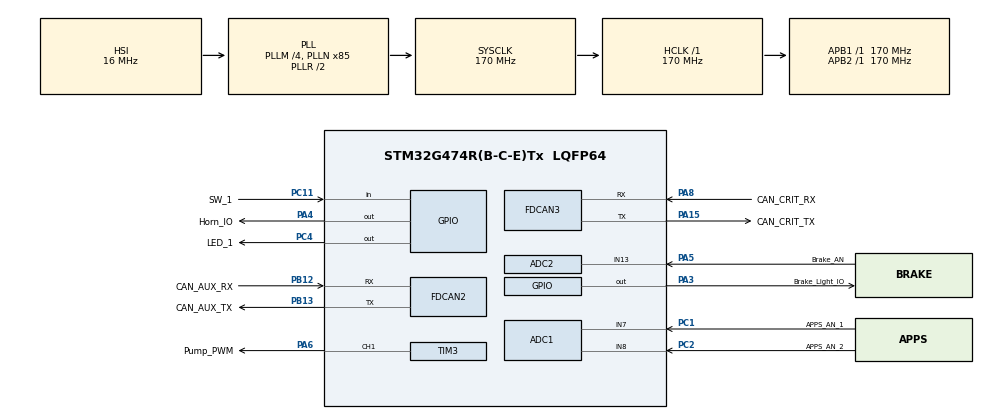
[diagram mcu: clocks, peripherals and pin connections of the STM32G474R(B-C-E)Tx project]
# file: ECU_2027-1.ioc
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ADC1.Channel-0\#ChannelRegularConversion=ADC_CHANNEL_7
ADC1.Channel-1\#ChannelRegularConversion=ADC_CHANNEL_8
ADC1.ContinuousConvMode=ENABLE
ADC1.DMAContinuousRequests=ENABLE
ADC1.NbrOfConversion=2
ADC1.NbrOfConversionFlag=1
ADC1.OffsetNumber-0\#ChannelRegularConversion=ADC_OFFSET_NONE
ADC1.OffsetNumber-1\#ChannelRegularConversion=ADC_OFFSET_NONE
ADC1.Overrun=ADC_OVR_DATA_OVERWRITTEN
ADC1.Rank-0\#ChannelRegularConversion=1
ADC1.Rank-1\#ChannelRegularConversion=2
ADC1.SamplingTime-0\#ChannelRegularConversion=ADC_SAMPLETIME_47CYCLES_5
ADC1.SamplingTime-1\#ChannelRegularConversion=ADC_SAMPLETIME_47CYCLES_5
ADC1.master=1
ADC2.Channel-0\#ChannelRegularConversion=ADC_CHANNEL_13
ADC2.ContinuousConvMode=ENABLE
ADC2.NbrOfConversionFlag=1
ADC2.OffsetNumber-0\#ChannelRegularConversion=ADC_OFFSET_NONE
ADC2.Overrun=ADC_OVR_DATA_OVERWRITTEN
ADC2.Rank-0\#ChannelRegularConversion=1
ADC2.SamplingTime-0\#ChannelRegularConversion=ADC_SAMPLETIME_2CYCLES_5
Dma.ADC1.0.Direction=DMA_PERIPH_TO_MEMORY
Dma.ADC1.0.EventEnable=DISABLE
Dma.ADC1.0.Instance=DMA1_Channel1
Dma.ADC1.0.MemDataAlignment=DMA_MDATAALIGN_HALFWORD
Dma.ADC1.0.MemInc=DMA_MINC_ENABLE
Dma.ADC1.0.Mode=DMA_CIRCULAR
Dma.ADC1.0.PeriphDataAlignment=DMA_PDATAALIGN_HALFWORD
Dma.ADC1.0.PeriphInc=DMA_PINC_DISABLE
Dma.ADC1.0.Polarity=HAL_DMAMUX_REQ_GEN_RISING
Dma.ADC1.0.Priority=DMA_PRIORITY_MEDIUM
Dma.ADC1.0.RequestNumber=1
Dma.ADC1.0.SignalID=NONE
Dma.ADC1.0.SyncEnable=DISABLE
Dma.ADC1.0.SyncPolarity=HAL_DMAMUX_SYNC_NO_EVENT
Dma.ADC1.0.SyncRequestNumber=1
Dma.ADC1.0.SyncSignalID=NONE
Dma.Request0=ADC1
FDCAN2.AutoRetransmission=ENABLE
FDCAN2.CalculateBaudRateNominal=250000
FDCAN2.CalculateTimeBitNominal=4000
FDCAN2.CalculateTimeQuantumNominal=200.0
FDCAN2.DataSyncJumpWidth=3
FDCAN2.NominalPrescaler=34
FDCAN2.NominalTimeSeg1=16
FDCAN2.NominalTimeSeg2=3
FDCAN3.AutoRetransmission=ENABLE
FDCAN3.CalculateBaudRateNominal=250000
FDCAN3.CalculateTimeBitNominal=4000
FDCAN3.CalculateTimeQuantumNominal=200.0
FDCAN3.NominalPrescaler=34
FDCAN3.NominalTimeSeg1=16
FDCAN3.NominalTimeSeg2=3
Mcu.Family=STM32G4
Mcu.Name=STM32G474R(B-C-E)Tx
Mcu.Package=LQFP64
NVIC.DMA1_Channel1_IRQn=true\:0\:0\:false\:false\:true\:false\:true\:true
NVIC.FDCAN2_IT0_IRQn=true\:0\:0\:false\:false\:true\:true\:true\:true
NVIC.FDCAN3_IT0_IRQn=true\:0\:0\:false\:false\:true\:true\:true\:true
NVIC.PriorityGroup=NVIC_PRIORITYGROUP_4
NVIC.TIM6_DAC_IRQn=true\:15\:0\:true\:false\:true\:false\:true\:true
NVIC.TimeBase=TIM6_DAC_IRQn
NVIC.TimeBaseIP=TIM6
PA13.Mode=Trace_Asynchronous_SW
PA13.Signal=SYS_JTMS-SWDIO
PA14.Mode=Trace_Asynchronous_SW
PA14.Signal=SYS_JTCK-SWCLK
PA15.GPIO_Label=CAN_CRIT_TX
PA15.Mode=FDCAN_Activate
PA15.Signal=FDCAN3_TX
PA3.GPIO_Label=Brake_Light_IO
PA3.Signal=GPIO_Output
PA4.GPIO_Label=Horn_IO
PA4.Signal=GPIO_Output
PA5.GPIO_Label=Brake_AN
PA5.Mode=IN13-Single-Ended
PA5.Signal=ADC2_IN13
PA6.GPIO_Label=Pump_PWM
PA6.Signal=S_TIM3_CH1
PA8.GPIO_Label=CAN_CRIT_RX
PA8.Mode=FDCAN_Activate
PA8.Signal=FDCAN3_RX
PB12.GPIO_Label=CAN_AUX_RX
PB12.Mode=FDCAN_Activate
PB12.Signal=FDCAN2_RX
PB13.GPIO_Label=CAN_AUX_TX
PB13.Mode=FDCAN_Activate
PB13.Signal=FDCAN2_TX
PB3.Mode=Trace_Asynchronous_SW
PB3.Signal=SYS_JTDO-SWO
PC1.GPIO_Label=APPS_AN_1
PC1.Mode=IN7-Single-Ended
PC1.Signal=ADC1_IN7
PC11.GPIO_Label=SW_1
PC11.Signal=GPIO_Input
PC2.GPIO_Label=APPS_AN_2
PC2.Mode=IN8-Single-Ended
PC2.Signal=ADC1_IN8
PC4.GPIO_Label=LED_1
PC4.Signal=GPIO_Output
ProjectManager.HeapSize=0x400
ProjectManager.StackSize=0x800
ProjectManager.TargetToolchain=CMake
RCC.ADC12Freq_Value=170000000
RCC.ADC345Freq_Value=170000000
RCC.AHBFreq_Value=170000000
RCC.APB1Freq_Value=170000000
RCC.APB1TimFreq_Value=170000000
RCC.APB2Freq_Value=170000000
RCC.APB2TimFreq_Value=170000000
RCC.CK48CLockSelection=RCC_USBCLKSOURCE_HSI48
RCC.CortexFreq_Value=170000000
RCC.EXTERNAL_CLOCK_VALUE=12288000
RCC.HCLKFreq_Value=170000000
RCC.HSE_VALUE=8000000
RCC.HSI48_VALUE=48000000
RCC.HSI_VALUE=16000000
RCC.LSE_VALUE=32768
RCC.PLLM=RCC_PLLM_DIV4
RCC.PLLN=85
RCC.PLLQ=RCC_PLLQ_DIV4
RCC.SYSCLKFreq_VALUE=170000000
RCC.SYSCLKSource=RCC_SYSCLKSOURCE_PLLCLK
RCC.USBFreq_Value=48000000
RCC.VCOOutputFreq_Value=340000000
SH.S_TIM3_CH1.0=TIM3_CH1,PWM Generation1 CH1
TIM3.Channel-PWM\ Generation1\ CH1=TIM_CHANNEL_1
TIM3.ClockDivision=TIM_CLOCKDIVISION_DIV1
VP_SYS_VS_DBSignals.Mode=DisableDeadBatterySignals
VP_SYS_VS_tim6.Mode=TIM6
VP_TIM3_VS_ClockSourceINT.Mode=Internal
board=NUCLEO-G474RE

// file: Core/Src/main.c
/* USER CODE BEGIN Header */
/**
  ******************************************************************************
  * @file           : main.c
  * @brief          : Main program body
  ******************************************************************************
  * @attention
  *
  * Copyright (c) 2026 STMicroelectronics.
  * All rights reserved.
  *
  * This software is licensed under terms that can be found in the LICENSE file
  * in the root directory of this software component.
  * If no LICENSE file comes with this software, it is provided AS-IS.
  *
  ******************************************************************************
  */
/* USER CODE END Header */
#include "main.h"

/* USER CODE BEGIN Includes */
#include <stdio.h>

#include "../Lib/shared/ecu_assert.h"
#include "../Lib/shared/util.h"

#include "../Lib/ecu/constants.h"
#include "../Lib/ecu/ecu_logic.h"

#include "../Lib/can/can_buses.h"
#include "../Lib/can/can_serde.h"
/* USER CODE END Includes */

ADC_HandleTypeDef hadc1;
ADC_HandleTypeDef hadc2;
DMA_HandleTypeDef hdma_adc1;

FDCAN_HandleTypeDef hfdcan2;
FDCAN_HandleTypeDef hfdcan3;

TIM_HandleTypeDef htim3;

/* USER CODE BEGIN PV */
uint32_t start_time;
/* USER CODE END PV */

void SystemClock_Config(void);
static void MX_GPIO_Init(void);
static void MX_DMA_Init(void);
static void MX_ADC1_Init(void);
static void MX_FDCAN2_Init(void);
static void MX_FDCAN3_Init(void);
static void MX_TIM3_Init(void);
static void MX_ADC2_Init(void);

/* USER CODE BEGIN 0 */

/* Called when an assert is violated */
static void ecu_assert_handler(AssertLevel level, LineInfo line_info, AssertCode code) {
    if (level == ASSERT_LEVEL_SAFETY) {
      // Turns horn off
      HAL_GPIO_WritePin(Horn_IO_GPIO_Port, Horn_IO_Pin, GPIO_PIN_RESET);

      /* Creates a shutdown message (all zeros) to send on the MotorCAN, effectively turning off the motor */
      CAN_message_t shutdown_message = empty_can_message(MESSAGE_ID_CONTROL_COMMAND, 8);

      /* Creates a can message with fault data to send along the DataCAN line
      * with error code, line of code where the error took place and file name */
      CriticalFault fault = { .error_code = code, .assert_failure_line = (uint16_t)line_info.line_no, .file_name_hash = str_hash(line_info.filename) };
      CAN_message_t fault_message = create_critical_fault_command(fault);

      /* Repeatedly sends both error message and 0 torque command to DataCAN and MotorCAN respectively.
      * Also will blink the LED on board rapidly */
      while (true) {
        can_bus_write(&MotorCAN, &shutdown_message);
        can_bus_service(&MotorCAN);
        can_bus_write(&DataCAN, &fault_message);
        can_bus_service(&DataCAN);
        HAL_GPIO_TogglePin(LED_1_GPIO_Port, LED_1_Pin);
        HAL_Delay(ASSERT_HANDLER_DELAY_MS);
      }
    }
}

// Low level print function called after PRINTF(), uses debug wire SWO instead
int _write(int file, char *ptr, int len) {
    for (int i = 0; i < len; i++) {
        ITM_SendChar(*ptr++);
    }
    return len;
}

/* USER CODE END 0 */

int main(void)
{

  /* USER CODE BEGIN 1 */

  /* For testing, should turn on the led onboard */
  HAL_GPIO_WritePin(LED_1_GPIO_Port, LED_1_Pin, GPIO_PIN_SET);

  /* Initializes timer to print debug messages to the terminal */
  Timer debug_pacing = { .last_fired_at = 0, .duration_ms = 500 };

  /* All these timers control how often messages are emitted for each of these sensors
  * or how often each sensor value should be checked */
  Timer throttle1_timer = { .last_fired_at = 0, .duration_ms = POLLING_APPS_INTERVAL_MS };
  Timer throttle2_timer = { .last_fired_at = 0, .duration_ms = POLLING_APPS_INTERVAL_MS };
  Timer brake_timer = { .last_fired_at = 0, .duration_ms = POLLING_SENSORS_INTERVAL_MS };
  Timer start_switch_timer = { .last_fired_at = 0, .duration_ms = POLLING_SENSORS_INTERVAL_MS };
  Timer pump_pwm_timer = { .last_fired_at = 0, .duration_ms = PUMP_PWM_UPDATE_INTERVAL_MS };

  /* USER CODE END 1 */

  /* MCU Configuration--------------------------------------------------------*/

  /* Reset of all peripherals, Initializes the Flash interface and the Systick. */
  HAL_Init();

  /* USER CODE BEGIN Init */
  // First things first, register the panic handler. If something goes
  // wrong during setup, we'll wind everything down.
  ecu_register_assert_failed_handler(ecu_assert_handler);
  /* USER CODE END Init */

  /* Configure the system clock */
  SystemClock_Config();

  /* Initialize all configured peripherals */
  MX_GPIO_Init();
  MX_DMA_Init();
  MX_ADC1_Init();
  MX_FDCAN2_Init();
  MX_FDCAN3_Init();
  MX_TIM3_Init();
  MX_ADC2_Init();
  /* USER CODE BEGIN 2 */
  /* Starts the CAN buses */
  can_buses_init();

  /* Start the ADC calibration */
  if (!adc_inputs_start()) {
    Error_Handler();
  }

  /* Terminal printing init */
  PRINTF("=== ECU 2027 ===\r\nMotor CAN initialized\r\n");

  /* USER CODE END 2 */

  /* Infinite loop */
  while (1)
  {

    /* USER CODE BEGIN 3 */
    /* The ECU does not keep track of what time it is, nor does it use `millis`,
      * so we always have to tell it what time it is. */
    uint32_t current_time_ms = HAL_GetTick();

    /* Reads and processes MotorCAN messages then logs timing */
    start_time = HAL_GetTick();
    CAN_message_t rmsg;
    while (can_bus_read(&MotorCAN, &rmsg)) {
      ecu_process_message(current_time_ms, rmsg);
    }
    poll_timing.can_bus_read_timing = HAL_GetTick() - start_time;

    /* Check if any sensors need to send values down the CAN bus, and
    * if so, send them, then logs timing.*/
    if (timer_should_fire(&throttle1_timer, current_time_ms)) {
      start_time = HAL_GetTick();
      pedals_input_throttle_one_position(current_time_ms, read_throttle_1());
      poll_timing.throttle_1_timing = HAL_GetTick() - start_time;
    }

    if (timer_should_fire(&throttle2_timer, current_time_ms)) {
        start_time = HAL_GetTick();
        pedals_input_throttle_two_position(current_time_ms, read_throttle_2());
        poll_timing.throttle_2_timing = HAL_GetTick() - start_time;
    }

    if (timer_should_fire(&brake_timer, current_time_ms)) {
        start_time = HAL_GetTick();
        pedals_input_brake_position(current_time_ms, read_brake());
        poll_timing.brake_timing = HAL_GetTick() - start_time;
    }

    if (timer_should_fire(&pump_pwm_timer, current_time_ms)) {
      start_time = HAL_GetTick();
      // TO DO: figure out pwm implementation
      poll_timing.pump_timing = HAL_GetTick() - start_time;
    }

    /* Reads switch value and updates ECU variables */
    if (timer_should_fire(&start_switch_timer, current_time_ms)) {
      start_time = HAL_GetTick();
      if (HAL_GPIO_ReadPin(SW_1_GPIO_Port, SW_1_Pin) == GPIO_PIN_SET) {
        ecu_set_start_switch();
        } else {
        ecu_reset_start_switch();
        }
      poll_timing.start_switch_timing = HAL_GetTick() - start_time;
    }

    /* Updates pedal data startup data before generating and sending torque command message */
    start_time = HAL_GetTick();
    ecu_handle_startup_sequence(current_time_ms);
    pedals_poll(current_time_ms);
    /* Generate all outgoing messages and send each then logs timing */
    CAN_message_t to_send;
    while (ecu_poll_can(current_time_ms, &to_send)){
      if (!can_bus_write(&MotorCAN, &to_send)) {
        ecu_assert_failed(ASSERT_LEVEL_SAFETY, CAPTURE_LINE_INFO(), ASSERT_CODE_CAN_TX_FULL);
      }
    }
    /* Sends any available messages */
    can_bus_service(&MotorCAN);
    poll_timing.can_bus_write_timing = HAL_GetTick() - start_time;

    /* Updates GpioState variables and logs timing */
    start_time = HAL_GetTick();
    GpioState state = ecu_poll_gpio_state(current_time_ms);
    HAL_GPIO_WritePin(Horn_IO_GPIO_Port, Horn_IO_Pin, state.horn_on ? GPIO_PIN_SET : GPIO_PIN_RESET);
    HAL_GPIO_WritePin(Brake_Light_IO_GPIO_Port, Brake_Light_IO_Pin, state.brake_light_on ? GPIO_PIN_SET : GPIO_PIN_RESET);
    poll_timing.gpio_state_timing = current_time_ms - HAL_GetTick();

    if (timer_should_fire(&debug_pacing, current_time_ms)) {
      start_time = HAL_GetTick();
      ecu_print_state();
      poll_timing.debug_timing = HAL_GetTick() - start_time;
    }

  }
  /* USER CODE END 3 */
}

void SystemClock_Config(void)
{
  RCC_OscInitTypeDef RCC_OscInitStruct = {0};
  RCC_ClkInitTypeDef RCC_ClkInitStruct = {0};

  /** Configure the main internal regulator output voltage
  */
  HAL_PWREx_ControlVoltageScaling(PWR_REGULATOR_VOLTAGE_SCALE1_BOOST);

  /** Initializes the RCC Oscillators according to the specified parameters
  * in the RCC_OscInitTypeDef structure.
  */
  RCC_OscInitStruct.OscillatorType = RCC_OSCILLATORTYPE_HSI;
  RCC_OscInitStruct.HSIState = RCC_HSI_ON;
  RCC_OscInitStruct.HSICalibrationValue = RCC_HSICALIBRATION_DEFAULT;
  RCC_OscInitStruct.PLL.PLLState = RCC_PLL_ON;
  RCC_OscInitStruct.PLL.PLLSource = RCC_PLLSOURCE_HSI;
  RCC_OscInitStruct.PLL.PLLM = RCC_PLLM_DIV4;
  RCC_OscInitStruct.PLL.PLLN = 85;
  RCC_OscInitStruct.PLL.PLLP = RCC_PLLP_DIV2;
  RCC_OscInitStruct.PLL.PLLQ = RCC_PLLQ_DIV4;
  RCC_OscInitStruct.PLL.PLLR = RCC_PLLR_DIV2;
  if (HAL_RCC_OscConfig(&RCC_OscInitStruct) != HAL_OK)
  {
    Error_Handler();
  }

  /** Initializes the CPU, AHB and APB buses clocks
  */
  RCC_ClkInitStruct.ClockType = RCC_CLOCKTYPE_HCLK|RCC_CLOCKTYPE_SYSCLK
                              |RCC_CLOCKTYPE_PCLK1|RCC_CLOCKTYPE_PCLK2;
  RCC_ClkInitStruct.SYSCLKSource = RCC_SYSCLKSOURCE_PLLCLK;
  RCC_ClkInitStruct.AHBCLKDivider = RCC_SYSCLK_DIV1;
  RCC_ClkInitStruct.APB1CLKDivider = RCC_HCLK_DIV1;
  RCC_ClkInitStruct.APB2CLKDivider = RCC_HCLK_DIV1;

  if (HAL_RCC_ClockConfig(&RCC_ClkInitStruct, FLASH_LATENCY_4) != HAL_OK)
  {
    Error_Handler();
  }
}

static void MX_ADC1_Init(void)
{

  ADC_MultiModeTypeDef multimode = {0};
  ADC_ChannelConfTypeDef sConfig = {0};

  /** Common config
  */
  hadc1.Instance = ADC1;
  hadc1.Init.ClockPrescaler = ADC_CLOCK_SYNC_PCLK_DIV4;
  hadc1.Init.Resolution = ADC_RESOLUTION_12B;
  hadc1.Init.DataAlign = ADC_DATAALIGN_RIGHT;
  hadc1.Init.GainCompensation = 0;
  hadc1.Init.ScanConvMode = ADC_SCAN_ENABLE;
  hadc1.Init.EOCSelection = ADC_EOC_SINGLE_CONV;
  hadc1.Init.LowPowerAutoWait = DISABLE;
  hadc1.Init.ContinuousConvMode = ENABLE;
  hadc1.Init.NbrOfConversion = 2;
  hadc1.Init.DiscontinuousConvMode = DISABLE;
  hadc1.Init.ExternalTrigConv = ADC_SOFTWARE_START;
  hadc1.Init.ExternalTrigConvEdge = ADC_EXTERNALTRIGCONVEDGE_NONE;
  hadc1.Init.DMAContinuousRequests = ENABLE;
  hadc1.Init.Overrun = ADC_OVR_DATA_OVERWRITTEN;
  hadc1.Init.OversamplingMode = DISABLE;
  if (HAL_ADC_Init(&hadc1) != HAL_OK)
  {
    Error_Handler();
  }

  /** Configure the ADC multi-mode
  */
  multimode.Mode = ADC_MODE_INDEPENDENT;
  if (HAL_ADCEx_MultiModeConfigChannel(&hadc1, &multimode) != HAL_OK)
  {
    Error_Handler();
  }

  /** Configure Regular Channel
  */
  sConfig.Channel = ADC_CHANNEL_7;
  sConfig.Rank = ADC_REGULAR_RANK_1;
  sConfig.SamplingTime = ADC_SAMPLETIME_47CYCLES_5;
  sConfig.SingleDiff = ADC_SINGLE_ENDED;
  sConfig.OffsetNumber = ADC_OFFSET_NONE;
  sConfig.Offset = 0;
  if (HAL_ADC_ConfigChannel(&hadc1, &sConfig) != HAL_OK)
  {
    Error_Handler();
  }

  /** Configure Regular Channel
  */
  sConfig.Channel = ADC_CHANNEL_8;
  sConfig.Rank = ADC_REGULAR_RANK_2;
  if (HAL_ADC_ConfigChannel(&hadc1, &sConfig) != HAL_OK)
  {
    Error_Handler();
  }

}

static void MX_ADC2_Init(void)
{

  ADC_ChannelConfTypeDef sConfig = {0};

  /** Common config
  */
  hadc2.Instance = ADC2;
  hadc2.Init.ClockPrescaler = ADC_CLOCK_SYNC_PCLK_DIV4;
  hadc2.Init.Resolution = ADC_RESOLUTION_12B;
  hadc2.Init.DataAlign = ADC_DATAALIGN_RIGHT;
  hadc2.Init.GainCompensation = 0;
  hadc2.Init.ScanConvMode = ADC_SCAN_DISABLE;
  hadc2.Init.EOCSelection = ADC_EOC_SINGLE_CONV;
  hadc2.Init.LowPowerAutoWait = DISABLE;
  hadc2.Init.ContinuousConvMode = ENABLE;
  hadc2.Init.NbrOfConversion = 1;
  hadc2.Init.DiscontinuousConvMode = DISABLE;
  hadc2.Init.ExternalTrigConv = ADC_SOFTWARE_START;
  hadc2.Init.ExternalTrigConvEdge = ADC_EXTERNALTRIGCONVEDGE_NONE;
  hadc2.Init.DMAContinuousRequests = DISABLE;
  hadc2.Init.Overrun = ADC_OVR_DATA_OVERWRITTEN;
  hadc2.Init.OversamplingMode = DISABLE;
  if (HAL_ADC_Init(&hadc2) != HAL_OK)
  {
    Error_Handler();
  }

  /** Configure Regular Channel
  */
  sConfig.Channel = ADC_CHANNEL_13;
  sConfig.Rank = ADC_REGULAR_RANK_1;
  sConfig.SamplingTime = ADC_SAMPLETIME_2CYCLES_5;
  sConfig.SingleDiff = ADC_SINGLE_ENDED;
  sConfig.OffsetNumber = ADC_OFFSET_NONE;
  sConfig.Offset = 0;
  if (HAL_ADC_ConfigChannel(&hadc2, &sConfig) != HAL_OK)
  {
    Error_Handler();
  }

}

static void MX_FDCAN2_Init(void)
{

  hfdcan2.Instance = FDCAN2;
  hfdcan2.Init.ClockDivider = FDCAN_CLOCK_DIV1;
  hfdcan2.Init.FrameFormat = FDCAN_FRAME_CLASSIC;
  hfdcan2.Init.Mode = FDCAN_MODE_NORMAL;
  hfdcan2.Init.AutoRetransmission = ENABLE;
  hfdcan2.Init.TransmitPause = DISABLE;
  hfdcan2.Init.ProtocolException = DISABLE;
  hfdcan2.Init.NominalPrescaler = 34;
  hfdcan2.Init.NominalSyncJumpWidth = 1;
  hfdcan2.Init.NominalTimeSeg1 = 16;
  hfdcan2.Init.NominalTimeSeg2 = 3;
  hfdcan2.Init.DataPrescaler = 1;
  hfdcan2.Init.DataSyncJumpWidth = 3;
  hfdcan2.Init.DataTimeSeg1 = 1;
  hfdcan2.Init.DataTimeSeg2 = 1;
  hfdcan2.Init.StdFiltersNbr = 0;
  hfdcan2.Init.ExtFiltersNbr = 0;
  hfdcan2.Init.TxFifoQueueMode = FDCAN_TX_FIFO_OPERATION;
  if (HAL_FDCAN_Init(&hfdcan2) != HAL_OK)
  {
    Error_Handler();
  }

}

static void MX_FDCAN3_Init(void)
{

  hfdcan3.Instance = FDCAN3;
  hfdcan3.Init.ClockDivider = FDCAN_CLOCK_DIV1;
  hfdcan3.Init.FrameFormat = FDCAN_FRAME_CLASSIC;
  hfdcan3.Init.Mode = FDCAN_MODE_NORMAL;
  hfdcan3.Init.AutoRetransmission = ENABLE;
  hfdcan3.Init.TransmitPause = DISABLE;
  hfdcan3.Init.ProtocolException = DISABLE;
  hfdcan3.Init.NominalPrescaler = 34;
  hfdcan3.Init.NominalSyncJumpWidth = 1;
  hfdcan3.Init.NominalTimeSeg1 = 16;
  hfdcan3.Init.NominalTimeSeg2 = 3;
  hfdcan3.Init.DataPrescaler = 1;
  hfdcan3.Init.DataSyncJumpWidth = 1;
  hfdcan3.Init.DataTimeSeg1 = 1;
  hfdcan3.Init.DataTimeSeg2 = 1;
  hfdcan3.Init.StdFiltersNbr = 0;
  hfdcan3.Init.ExtFiltersNbr = 0;
  hfdcan3.Init.TxFifoQueueMode = FDCAN_TX_FIFO_OPERATION;
  if (HAL_FDCAN_Init(&hfdcan3) != HAL_OK)
  {
    Error_Handler();
  }

}

static void MX_TIM3_Init(void)
{

  TIM_ClockConfigTypeDef sClockSourceConfig = {0};
  TIM_MasterConfigTypeDef sMasterConfig = {0};
  TIM_OC_InitTypeDef sConfigOC = {0};

  htim3.Instance = TIM3;
  htim3.Init.Prescaler = 0;
  htim3.Init.CounterMode = TIM_COUNTERMODE_UP;
  htim3.Init.Period = 65535;
  htim3.Init.ClockDivision = TIM_CLOCKDIVISION_DIV1;
  htim3.Init.AutoReloadPreload = TIM_AUTORELOAD_PRELOAD_DISABLE;
  if (HAL_TIM_Base_Init(&htim3) != HAL_OK)
  {
    Error_Handler();
  }
  sClockSourceConfig.ClockSource = TIM_CLOCKSOURCE_INTERNAL;
  if (HAL_TIM_ConfigClockSource(&htim3, &sClockSourceConfig) != HAL_OK)
  {
    Error_Handler();
  }
  if (HAL_TIM_PWM_Init(&htim3) != HAL_OK)
  {
    Error_Handler();
  }
  sMasterConfig.MasterOutputTrigger = TIM_TRGO_RESET;
  sMasterConfig.MasterSlaveMode = TIM_MASTERSLAVEMODE_DISABLE;
  if (HAL_TIMEx_MasterConfigSynchronization(&htim3, &sMasterConfig) != HAL_OK)
  {
    Error_Handler();
  }
  sConfigOC.OCMode = TIM_OCMODE_PWM1;
  sConfigOC.Pulse = 0;
  sConfigOC.OCPolarity = TIM_OCPOLARITY_HIGH;
  sConfigOC.OCFastMode = TIM_OCFAST_DISABLE;
  if (HAL_TIM_PWM_ConfigChannel(&htim3, &sConfigOC, TIM_CHANNEL_1) != HAL_OK)
  {
    Error_Handler();
  }
  HAL_TIM_MspPostInit(&htim3);

}

static void MX_DMA_Init(void)
{

  /* DMA controller clock enable */
  __HAL_RCC_DMAMUX1_CLK_ENABLE();
  __HAL_RCC_DMA1_CLK_ENABLE();

  /* DMA interrupt init */
  /* DMA1_Channel1_IRQn interrupt configuration */
  HAL_NVIC_SetPriority(DMA1_Channel1_IRQn, 0, 0);
  HAL_NVIC_EnableIRQ(DMA1_Channel1_IRQn);

}

static void MX_GPIO_Init(void)
{
  GPIO_InitTypeDef GPIO_InitStruct = {0};

  /* GPIO Ports Clock Enable */
  __HAL_RCC_GPIOC_CLK_ENABLE();
  __HAL_RCC_GPIOA_CLK_ENABLE();
  __HAL_RCC_GPIOB_CLK_ENABLE();

  /*Configure GPIO pin Output Level */
  HAL_GPIO_WritePin(GPIOA, Brake_Light_IO_Pin|Horn_IO_Pin, GPIO_PIN_RESET);

  /*Configure GPIO pin Output Level */
  HAL_GPIO_WritePin(LED_1_GPIO_Port, LED_1_Pin, GPIO_PIN_RESET);

  /*Configure GPIO pins : Brake_Light_IO_Pin Horn_IO_Pin */
  GPIO_InitStruct.Pin = Brake_Light_IO_Pin|Horn_IO_Pin;
  GPIO_InitStruct.Mode = GPIO_MODE_OUTPUT_PP;
  GPIO_InitStruct.Pull = GPIO_NOPULL;
  GPIO_InitStruct.Speed = GPIO_SPEED_FREQ_LOW;
  HAL_GPIO_Init(GPIOA, &GPIO_InitStruct);

  /*Configure GPIO pin : LED_1_Pin */
  GPIO_InitStruct.Pin = LED_1_Pin;
  GPIO_InitStruct.Mode = GPIO_MODE_OUTPUT_PP;
  GPIO_InitStruct.Pull = GPIO_NOPULL;
  GPIO_InitStruct.Speed = GPIO_SPEED_FREQ_LOW;
  HAL_GPIO_Init(LED_1_GPIO_Port, &GPIO_InitStruct);

  /*Configure GPIO pin : SW_1_Pin */
  GPIO_InitStruct.Pin = SW_1_Pin;
  GPIO_InitStruct.Mode = GPIO_MODE_INPUT;
  GPIO_InitStruct.Pull = GPIO_NOPULL;
  HAL_GPIO_Init(SW_1_GPIO_Port, &GPIO_InitStruct);

}

void HAL_TIM_PeriodElapsedCallback(TIM_HandleTypeDef *htim)
{
  if (htim->Instance == TIM6)
  {
    HAL_IncTick();
  }
}

void Error_Handler(void)
{
  /* USER CODE BEGIN Error_Handler_Debug */
  /* User can add his own implementation to report the HAL error return state */
  // Turns horn off
  HAL_GPIO_WritePin(Horn_IO_GPIO_Port, Horn_IO_Pin, GPIO_PIN_RESET);

  /* Creates a shutdown message (all zeros) to send on the MotorCAN, effectively turning off the motor */
  //CAN_message_t shutdown_message = empty_can_message(MESSAGE_ID_CONTROL_COMMAND, 8);

  while (1)
  {
    // if (&MotorCAN.hfdcan != NULL){
    //   can_bus_write(&MotorCAN, &shutdown_message);
    //   can_bus_service(&MotorCAN);
    // }
    HAL_GPIO_TogglePin(LED_1_GPIO_Port, LED_1_Pin);
    HAL_Delay(ASSERT_HANDLER_DELAY_MS);
  }
  /* USER CODE END Error_Handler_Debug */
}
